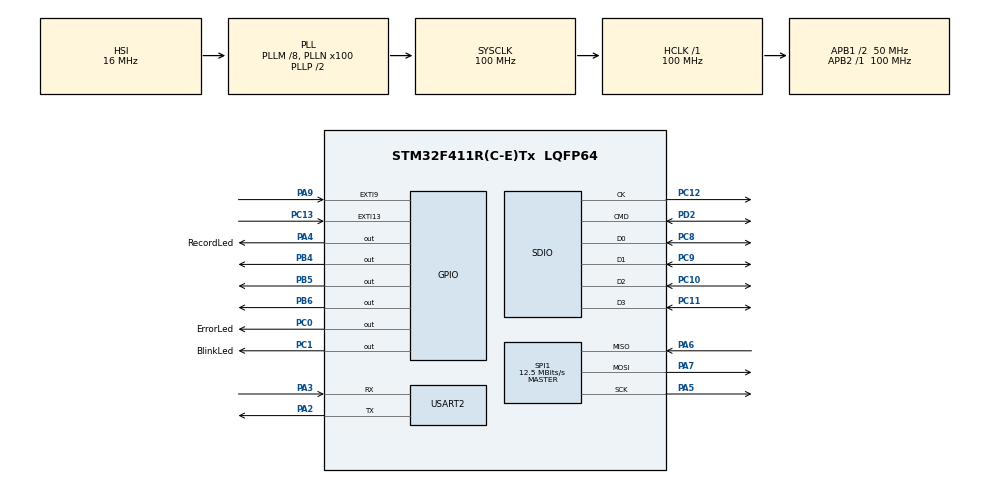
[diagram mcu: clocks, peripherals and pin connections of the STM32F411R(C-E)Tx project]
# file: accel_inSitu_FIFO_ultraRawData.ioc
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Dma.Request0=SDIO_TX
Dma.Request1=SDIO_RX
Dma.Request2=SPI1_RX
Dma.Request3=SPI1_TX
Dma.SDIO_RX.1.Direction=DMA_PERIPH_TO_MEMORY
Dma.SDIO_RX.1.FIFOMode=DMA_FIFOMODE_ENABLE
Dma.SDIO_RX.1.FIFOThreshold=DMA_FIFO_THRESHOLD_FULL
Dma.SDIO_RX.1.Instance=DMA2_Stream6
Dma.SDIO_RX.1.MemBurst=DMA_MBURST_INC4
Dma.SDIO_RX.1.MemDataAlignment=DMA_MDATAALIGN_WORD
Dma.SDIO_RX.1.MemInc=DMA_MINC_ENABLE
Dma.SDIO_RX.1.Mode=DMA_PFCTRL
Dma.SDIO_RX.1.PeriphBurst=DMA_PBURST_INC4
Dma.SDIO_RX.1.PeriphDataAlignment=DMA_PDATAALIGN_WORD
Dma.SDIO_RX.1.PeriphInc=DMA_PINC_DISABLE
Dma.SDIO_RX.1.Priority=DMA_PRIORITY_MEDIUM
Dma.SDIO_TX.0.Direction=DMA_MEMORY_TO_PERIPH
Dma.SDIO_TX.0.FIFOMode=DMA_FIFOMODE_ENABLE
Dma.SDIO_TX.0.FIFOThreshold=DMA_FIFO_THRESHOLD_FULL
Dma.SDIO_TX.0.Instance=DMA2_Stream3
Dma.SDIO_TX.0.MemBurst=DMA_MBURST_INC4
Dma.SDIO_TX.0.MemDataAlignment=DMA_MDATAALIGN_WORD
Dma.SDIO_TX.0.MemInc=DMA_MINC_ENABLE
Dma.SDIO_TX.0.Mode=DMA_PFCTRL
Dma.SDIO_TX.0.PeriphBurst=DMA_PBURST_INC4
Dma.SDIO_TX.0.PeriphDataAlignment=DMA_PDATAALIGN_WORD
Dma.SDIO_TX.0.PeriphInc=DMA_PINC_DISABLE
Dma.SDIO_TX.0.Priority=DMA_PRIORITY_MEDIUM
Dma.SPI1_RX.2.Direction=DMA_PERIPH_TO_MEMORY
Dma.SPI1_RX.2.FIFOMode=DMA_FIFOMODE_ENABLE
Dma.SPI1_RX.2.FIFOThreshold=DMA_FIFO_THRESHOLD_FULL
Dma.SPI1_RX.2.Instance=DMA2_Stream0
Dma.SPI1_RX.2.MemBurst=DMA_MBURST_SINGLE
Dma.SPI1_RX.2.MemDataAlignment=DMA_MDATAALIGN_BYTE
Dma.SPI1_RX.2.MemInc=DMA_MINC_ENABLE
Dma.SPI1_RX.2.Mode=DMA_NORMAL
Dma.SPI1_RX.2.PeriphBurst=DMA_PBURST_SINGLE
Dma.SPI1_RX.2.PeriphDataAlignment=DMA_PDATAALIGN_BYTE
Dma.SPI1_RX.2.PeriphInc=DMA_PINC_DISABLE
Dma.SPI1_RX.2.Priority=DMA_PRIORITY_HIGH
Dma.SPI1_TX.3.Direction=DMA_MEMORY_TO_PERIPH
Dma.SPI1_TX.3.FIFOMode=DMA_FIFOMODE_ENABLE
Dma.SPI1_TX.3.FIFOThreshold=DMA_FIFO_THRESHOLD_FULL
Dma.SPI1_TX.3.Instance=DMA2_Stream2
Dma.SPI1_TX.3.MemBurst=DMA_MBURST_SINGLE
Dma.SPI1_TX.3.MemDataAlignment=DMA_MDATAALIGN_BYTE
Dma.SPI1_TX.3.MemInc=DMA_MINC_ENABLE
Dma.SPI1_TX.3.Mode=DMA_NORMAL
Dma.SPI1_TX.3.PeriphBurst=DMA_PBURST_SINGLE
Dma.SPI1_TX.3.PeriphDataAlignment=DMA_PDATAALIGN_BYTE
Dma.SPI1_TX.3.PeriphInc=DMA_PINC_DISABLE
Dma.SPI1_TX.3.Priority=DMA_PRIORITY_HIGH
FATFS.USE_DMA_CODE_SD=1
FATFS._CODE_PAGE=850
FATFS._MAX_SS=4096
FATFS._USE_LFN=1
Mcu.Family=STM32F4
Mcu.Name=STM32F411R(C-E)Tx
Mcu.Package=LQFP64
NVIC.DMA2_Stream0_IRQn=true\:0\:0\:false\:false\:true\:false\:true\:true
NVIC.DMA2_Stream2_IRQn=true\:0\:0\:false\:false\:true\:false\:true\:true
NVIC.DMA2_Stream3_IRQn=true\:0\:1\:false\:false\:true\:false\:true\:true
NVIC.DMA2_Stream6_IRQn=true\:0\:1\:false\:false\:true\:false\:true\:true
NVIC.EXTI15_10_IRQn=true\:0\:3\:false\:false\:true\:true\:true\:true
NVIC.EXTI9_5_IRQn=true\:0\:2\:false\:false\:true\:true\:true\:true
NVIC.PriorityGroup=NVIC_PRIORITYGROUP_0
NVIC.SDIO_IRQn=true\:0\:0\:false\:false\:true\:true\:true\:true
NVIC.TIM1_TRG_COM_TIM11_IRQn=true\:0\:1\:true\:false\:true\:true\:true\:true
NVIC.TIM5_IRQn=true\:0\:3\:false\:false\:true\:true\:true\:true
PA11.Signal=USART6_TX
PA12.Signal=USART6_RX
PA13.Mode=Serial_Wire
PA13.Signal=SYS_JTMS-SWDIO
PA14.Mode=Serial_Wire
PA14.Signal=SYS_JTCK-SWCLK
PA2.Mode=Asynchronous
PA2.Signal=USART2_TX
PA3.Mode=Asynchronous
PA3.Signal=USART2_RX
PA4.GPIO_Label=RecordLed
PA4.Signal=GPIO_Output
PA5.Mode=Full_Duplex_Master
PA5.Signal=SPI1_SCK
PA6.Mode=Full_Duplex_Master
PA6.Signal=SPI1_MISO
PA7.Mode=Full_Duplex_Master
PA7.Signal=SPI1_MOSI
PA9.Signal=GPXTI9
PB4.GPIO_ModeDefaultOutputPP=GPIO_MODE_OUTPUT_OD
PB4.GPIO_PuPd=GPIO_NOPULL
PB4.PinState=GPIO_PIN_SET
PB4.Signal=GPIO_Output
PB5.PinState=GPIO_PIN_RESET
PB5.Signal=GPIO_Output
PB6.Signal=GPIO_Output
PC0.GPIO_Label=ErrorLed
PC0.Signal=GPIO_Output
PC1.GPIO_Label=BlinkLed
PC1.Signal=GPIO_Output
PC10.Mode=SD_4_bits_Wide_bus
PC10.Signal=SDIO_D2
PC11.Mode=SD_4_bits_Wide_bus
PC11.Signal=SDIO_D3
PC12.Mode=SD_4_bits_Wide_bus
PC12.Signal=SDIO_CK
PC13-ANTI_TAMP.Signal=GPXTI13
PC8.Mode=SD_4_bits_Wide_bus
PC8.Signal=SDIO_D0
PC9.Mode=SD_4_bits_Wide_bus
PC9.Signal=SDIO_D1
PD2.Mode=SD_4_bits_Wide_bus
PD2.Signal=SDIO_CMD
ProjectManager.HeapSize=0x200
ProjectManager.StackSize=0x400
ProjectManager.TargetToolchain=STM32CubeIDE
RCC.48MHZClocksFreq_Value=40000000
RCC.AHBFreq_Value=100000000
RCC.APB1CLKDivider=RCC_HCLK_DIV2
RCC.APB1Freq_Value=50000000
RCC.APB1TimFreq_Value=100000000
RCC.APB2Freq_Value=100000000
RCC.APB2TimFreq_Value=100000000
RCC.CortexFreq_Value=100000000
RCC.FLatency-AdvancedSettings=FLASH_LATENCY_3
RCC.HCLKFreq_Value=100000000
RCC.HSE_VALUE=8000000
RCC.HSI_VALUE=16000000
RCC.LSE_VALUE=32768
RCC.PLLM=8
RCC.PLLN=100
RCC.PLLQ=5
RCC.SYSCLKFreq_VALUE=100000000
RCC.SYSCLKSource=RCC_SYSCLKSOURCE_PLLCLK
RCC.VCOOutputFreq_Value=200000000
SDIO.ClockBypass=SDIO_CLOCK_BYPASS_DISABLE
SDIO.ClockDiv=0
SDIO.HardwareFlowControl=SDIO_HARDWARE_FLOW_CONTROL_DISABLE
SPI1.BaudRatePrescaler=SPI_BAUDRATEPRESCALER_8
SPI1.CLKPhase=SPI_PHASE_1EDGE
SPI1.CLKPolarity=SPI_POLARITY_LOW
SPI1.CalculateBaudRate=12.5 MBits/s
SPI1.Direction=SPI_DIRECTION_2LINES
SPI1.Mode=SPI_MODE_MASTER
SPI1.VirtualType=VM_MASTER
TIM11.Period=2*100
TIM11.Prescaler=50000-1
TIM5.Period=2*1000*60*30
TIM5.Prescaler=50000-1
USART2.VirtualMode=VM_ASYNC
VP_FATFS_VS_SDIO.Mode=SDIO
VP_TIM11_VS_ClockSourceINT.Mode=Enable_Timer
VP_TIM5_VS_ClockSourceINT.Mode=Internal
board=NUCLEO-F411RE

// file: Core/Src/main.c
/* USER CODE BEGIN Header */
/**
 * @file           : main.c
 * @brief          : Modulo de medicion de vibraciones en ejes de tren
 * @authors        : Alejandro Narvaez, Mateo Robayo, Geronimo Nuñez
 * @project        : Accel Metro-UN
 *
 * @hardware       : STM32F411RE + IIS3DWB (SPI) + SD Card (SDIO/FatFS)
 * @sensor_odr     : 26,667 Hz (acelerometro 3 ejes, +-4g)
 * @storage_format : Binario, 10 bytes/muestra (uint32 ts + int16 x,y,z)
 * @file_rotation  : Automatica cada 20 minutos (A0, A1, A2, ...)
 *
 * @description    : El sistema lee el FIFO del IIS3DWB por polling con
 *                   WTM=20, empaqueta las muestras en formato binario en
 *                   un buffer de 50KB, y escribe a la SD en bloques
 *                   alineados a 512 bytes (sector). Los archivos rotan
 *                   automaticamente cada 20 minutos. Un preview UART
 *                   opcional (~10 Hz) permite monitorear en CoolTerm.
 *
 * Copyright (c) 2022 STMicroelectronics. All rights reserved.
 ******************************************************************************
 */
/* USER CODE END Header */
#include "main.h"
#include "dma.h"
#include "fatfs.h"
#include "sdio.h"
#include "spi.h"
#include "tim.h"
#include "usart.h"
#include "gpio.h"

/* USER CODE BEGIN Includes */
#include <string.h>
#include <stdio.h>
#include <stdbool.h>
/* USER CODE END Includes */

/* USER CODE BEGIN PD */

/* ---------- Sensor FIFO ---------- */
#define DATA_BUFFERSIZE    (20 * 7)   /* 7 bytes/word x 20 words = 140 bytes   */
#define TAG_SENSOR_ACCEL   0x02
#define TAG_SENSOR_TIMESTAMP 0x04
#define WTM_THRESHOLD      20         /* 10 pares accel+timestamp por lectura   */

/* ---------- SD write ---------- */
#define BIG_BUF_SIZE       50000      /* Buffer de acumulacion (~187 ms @ 26667 Hz) */
#define WRITE_THRESHOLD    512        /* Escribir alineado a sector SD            */
#define SYNC_EVERY_N       5000       /* f_sync cada ~5000 escrituras             */

/* ---------- Rotacion de archivos ---------- */
#define FILE_ROTATE_MS     1200000UL  /* 20 minutos en milisegundos              */

/* ---------- UART preview ---------- */
#define PREVIEW_EVERY_N    130        /* ~130 lotes x 0.75ms = ~100ms            */

/* ---------- LEDs ---------- */
#define RECORD_LED_PIN     GPIO_PIN_4
#define RECORD_LED_PORT    GPIOA
#define ERROR_LED_PIN      GPIO_PIN_0
#define ERROR_LED_PORT     GPIOC
#define BLINK_LED_PIN      GPIO_PIN_1
#define BLINK_LED_PORT     GPIOC

/* ---------- Misc ---------- */
#define BUFFER_SIZE        72         /* Buffer auxiliar para sprintf             */

/* USER CODE END PD */

/* USER CODE BEGIN PV */

/*
 * devMode: controla la salida UART para monitoreo en CoolTerm.
 *   1 = envia preview de datos (~10 Hz) + mensajes de estado
 *   0 = sin salida UART (modo produccion en el tren)
 * Para cambiar: modificar esta linea y recompilar.
 */
uint8_t devMode = 0;

/* ---------- SPI data buffers ---------- */
uint8_t data_rec[8] = { 0 };
uint8_t data_rec2[6] = { 0 };
uint8_t dataFIFO[DATA_BUFFERSIZE] = { 0 };

/* ---------- Parsed FIFO output ---------- */
int16_t datax[WTM_THRESHOLD / 2] = { 0 };
int16_t datay[WTM_THRESHOLD / 2] = { 0 };
int16_t dataz[WTM_THRESHOLD / 2] = { 0 };
uint32_t time[WTM_THRESHOLD / 2] = { 0 };

/* ---------- SD write buffer ---------- */
uint8_t bigbuf[BIG_BUF_SIZE];
uint32_t bigbuf_len = 0;

/* ---------- SD / FatFS ---------- */
FATFS myFatFS;
FIL myFile;
FATFS *pfs;
DWORD fre_clust;
uint32_t total, free_space;

/* ---------- File rotation ---------- */
char myFileName[20];
uint8_t file_index = 0;
uint32_t file_start_tick = 0;

/* ---------- Flags (volatile: modificadas por ISR) ---------- */
volatile uint8_t flag_recordData = 0;
volatile uint8_t flag_toggleRecord = 0;
volatile uint8_t flag_openFile = 0;
volatile uint8_t flag_closeFile = 0;
volatile uint8_t flag_FIFO_dataAvailable = 0;
volatile uint16_t time_counter_done = 0;

/* ---------- Counters ---------- */
uint32_t write_count = 0;
uint32_t preview_counter = 0;

/* ---------- Sensor config ---------- */
int8_t freq_fine = 0;
float ODR = 0;
int16_t x2;

/* ---------- Aux ---------- */
char buffer[BUFFER_SIZE];
uint32_t millis = 0;

int bufsize(char *buf);
/* USER CODE END PV */

void SystemClock_Config(void);

/* USER CODE BEGIN 0 */

void clear_buffer(void);
void iis_write(uint8_t address, uint8_t value);
void iis_read(uint8_t address, uint16_t dataSize, uint8_t *ptrDataArray);
void iis_init(void);
void iis_FIFO_read(int16_t *ptrDataX, int16_t *ptrDataY, int16_t *ptrDataZ,
        uint32_t *ptrTimestamp);
void send_uart2(char *string);
FRESULT open_new_file(void);
void close_current_file(void);

/* USER CODE END 0 */

int main(void)
{

  HAL_Init();

  SystemClock_Config();

  MX_GPIO_Init();
  MX_DMA_Init();
  MX_SDIO_SD_Init();
  MX_FATFS_Init();
  MX_USART2_UART_Init();
  MX_TIM11_Init();
  MX_SPI1_Init();
  MX_TIM5_Init();

  /* USER CODE BEGIN 2 */
    send_uart2("Starting Accel Metro-UN\n");
    HAL_Delay(100);
    iis_init();
    HAL_Delay(15);

    HAL_TIM_Base_Start_IT(&htim5);
    HAL_TIM_Base_Start_IT(&htim11);
    send_uart2("Ready to roll!!!\n");
  /* USER CODE END 2 */

  /* Infinite loop */
    while (1) {

    /* USER CODE BEGIN 3 */

        /* ============================================================
         * INICIAR GRABACION
         * ============================================================ */
        if (flag_toggleRecord && flag_openFile) {
            flag_openFile = 0;

            FRESULT error = f_mount(&myFatFS, "/", 1);
            if (error == FR_OK) {
                HAL_GPIO_WritePin(ERROR_LED_PORT, ERROR_LED_PIN, 0);
                HAL_Delay(100);
                send_uart2("SD CARD montada OK\n");

                f_getfree("", &fre_clust, &pfs);
                clear_buffer();
                total = (uint32_t)((pfs->n_fatent - 2) * pfs->csize * 0.5);
                sprintf(buffer, "SD Total: %lu KB\n", total);
                send_uart2(buffer);
                clear_buffer();
                free_space = (uint32_t)(fre_clust * pfs->csize * 0.5);
                sprintf(buffer, "SD Libre: %lu KB\n\n", free_space);
                send_uart2(buffer);
                clear_buffer();

                file_index = 0;
                error = open_new_file();

                if (error == FR_OK) {
                    HAL_GPIO_WritePin(RECORD_LED_PORT, RECORD_LED_PIN, 1);
                    HAL_GPIO_WritePin(ERROR_LED_PORT, ERROR_LED_PIN, 0);

                    iis_write(0x10, 0b10101000); /* Accel ON, +-4g */
                    HAL_Delay(10);

                    flag_recordData = 1;
                    flag_closeFile = 1;

                    iis_write(0x42, 0xAA);       /* Reset timestamp */
                    iis_write(0x0A, 0b01000000); /* Clear FIFO */
                    iis_write(0x0A, 0b01000110); /* FIFO continuous mode */

                    write_count = 0;
                    preview_counter = 0;
                    bigbuf_len = 0;
                    file_start_tick = HAL_GetTick();

                    iis_read(0x63, 1, (uint8_t*)&freq_fine);
                    ODR = 26667 * (1 + (0.0015 * freq_fine));

                    millis = HAL_GetTick();
                    clear_buffer();
                    sprintf(buffer, "Grabando desde t=%lu ms\n", millis);
                    send_uart2(buffer);
                    clear_buffer();

                } else {
                    HAL_GPIO_WritePin(ERROR_LED_PORT, ERROR_LED_PIN, 1);
                    send_uart2("ERROR: no se pudo abrir archivo\n");
                }

                HAL_TIM_Base_Stop(&htim11);
                HAL_GPIO_WritePin(BLINK_LED_PORT, BLINK_LED_PIN, 0);
                HAL_TIM_Base_Start(&htim5);
                HAL_Delay(100);

            } else {
                HAL_GPIO_WritePin(ERROR_LED_PORT, ERROR_LED_PIN, 1);
                clear_buffer();
                sprintf(buffer, "ERROR SD mount: %i\n", error);
                send_uart2(buffer);
            }

        /* ============================================================
         * DETENER GRABACION
         * ============================================================ */
        } else if (!flag_toggleRecord && flag_closeFile) {
            flag_closeFile = 0;
            flag_recordData = 0;
            HAL_GPIO_WritePin(RECORD_LED_PORT, RECORD_LED_PIN, 0);
            HAL_TIM_Base_Stop(&htim5);
            HAL_TIM_Base_Start(&htim11);

            if (bigbuf_len > 0) {
                uint32_t aux = 0;
                f_write(&myFile, bigbuf, bigbuf_len, (UINT*)&aux);
                bigbuf_len = 0;
            }

            close_current_file();

            millis = HAL_GetTick();
            clear_buffer();
            sprintf(buffer, "Cerrado t=%lu ms\n", millis);
            send_uart2(buffer);
            clear_buffer();
        }

        /* ============================================================
         * LOOP DE GRABACION
         * ============================================================ */
        if (flag_recordData) {

            /* --- PASO 1: Leer FIFO --- */
            iis_FIFO_read(datax, datay, dataz, time);

            /* --- PASO 2: Empaquetar binario en bigbuf --- */
            for (uint16_t i = 0; i < WTM_THRESHOLD / 2; i++) {
                if (time[i] == 0) continue;
                if (bigbuf_len + 10 <= BIG_BUF_SIZE) {
                    bigbuf[bigbuf_len++] = (uint8_t)(time[i]);
                    bigbuf[bigbuf_len++] = (uint8_t)(time[i] >> 8);
                    bigbuf[bigbuf_len++] = (uint8_t)(time[i] >> 16);
                    bigbuf[bigbuf_len++] = (uint8_t)(time[i] >> 24);
                    bigbuf[bigbuf_len++] = (uint8_t)(datax[i]);
                    bigbuf[bigbuf_len++] = (uint8_t)(datax[i] >> 8);
                    bigbuf[bigbuf_len++] = (uint8_t)(datay[i]);
                    bigbuf[bigbuf_len++] = (uint8_t)(datay[i] >> 8);
                    bigbuf[bigbuf_len++] = (uint8_t)(dataz[i]);
                    bigbuf[bigbuf_len++] = (uint8_t)(dataz[i] >> 8);
                }
            }

            /* --- PASO 3: Preview UART para CoolTerm --- */
            preview_counter++;
            if (devMode && preview_counter >= PREVIEW_EVERY_N) {
                preview_counter = 0;
                for (uint16_t i = 0; i < WTM_THRESHOLD / 2; i++) {
                    if (time[i] != 0) {
                        float ts_ms = (float)time[i] * 12.5f / 1000.0f;
                        float ax = (float)datax[i] * 0.122f;
                        float ay = (float)datay[i] * 0.122f;
                        float az = (float)dataz[i] * 0.122f;
                        sprintf(buffer, "%.2f,%.2f,%.2f,%.2f\n", ts_ms, ax, ay, az);
                        HAL_UART_Transmit(&huart2, (uint8_t*)buffer, strlen(buffer), 10);
                        clear_buffer();
                        break;
                    }
                }
            }

            /* --- PASO 4: Escribir a SD alineado a 512 bytes --- */
            if (bigbuf_len >= WRITE_THRESHOLD) {
                uint32_t aux = 0;
                uint32_t to_write = (bigbuf_len / 512) * 512;
                FRESULT wr_err = f_write(&myFile, bigbuf, to_write, (UINT*)&aux);

                if (wr_err != FR_OK || aux != to_write) {
                    HAL_GPIO_WritePin(ERROR_LED_PORT, ERROR_LED_PIN, 1);
                    send_uart2("ERR:SD_WR\n");
                }

                uint32_t remainder = bigbuf_len - to_write;
                if (remainder > 0) {
                    memmove(bigbuf, bigbuf + to_write, remainder);
                }
                bigbuf_len = remainder;
                write_count++;
            }

            /* --- PASO 5: f_sync periodico --- */
            if (write_count >= SYNC_EVERY_N) {
                write_count = 0;
                f_sync(&myFile);
            }

            /* --- PASO 6: f_sync por timer de 30 min --- */
            if (time_counter_done) {
                time_counter_done = 0;
                f_sync(&myFile);
            }

            /* --- PASO 7: Rotacion de archivo cada 20 min --- */
            if ((HAL_GetTick() - file_start_tick) >= FILE_ROTATE_MS) {
                if (bigbuf_len > 0) {
                    uint32_t aux = 0;
                    f_write(&myFile, bigbuf, bigbuf_len, (UINT*)&aux);
                    bigbuf_len = 0;
                }
                f_sync(&myFile);
                f_close(&myFile);

                file_index++;
                FRESULT err = open_new_file();
                if (err != FR_OK) {
                    HAL_GPIO_WritePin(ERROR_LED_PORT, ERROR_LED_PIN, 1);
                    send_uart2("ERR: rotacion fallida\n");
                    flag_recordData = 0;
                } else {
                    file_start_tick = HAL_GetTick();
                    write_count = 0;
                    clear_buffer();
                    sprintf(buffer, "Rotado: %s\n", myFileName);
                    send_uart2(buffer);
                    clear_buffer();
                }
            }
        }
    }
  /* USER CODE END 3 */
}

void SystemClock_Config(void)
{
  RCC_OscInitTypeDef RCC_OscInitStruct = {0};
  RCC_ClkInitTypeDef RCC_ClkInitStruct = {0};

  __HAL_RCC_PWR_CLK_ENABLE();
  __HAL_PWR_VOLTAGESCALING_CONFIG(PWR_REGULATOR_VOLTAGE_SCALE1);

  RCC_OscInitStruct.OscillatorType = RCC_OSCILLATORTYPE_HSI;
  RCC_OscInitStruct.HSIState = RCC_HSI_ON;
  RCC_OscInitStruct.HSICalibrationValue = RCC_HSICALIBRATION_DEFAULT;
  RCC_OscInitStruct.PLL.PLLState = RCC_PLL_ON;
  RCC_OscInitStruct.PLL.PLLSource = RCC_PLLSOURCE_HSI;
  RCC_OscInitStruct.PLL.PLLM = 8;
  RCC_OscInitStruct.PLL.PLLN = 100;
  RCC_OscInitStruct.PLL.PLLP = RCC_PLLP_DIV2;
  RCC_OscInitStruct.PLL.PLLQ = 5;
  if (HAL_RCC_OscConfig(&RCC_OscInitStruct) != HAL_OK) {
    Error_Handler();
  }

  RCC_ClkInitStruct.ClockType = RCC_CLOCKTYPE_HCLK|RCC_CLOCKTYPE_SYSCLK
                              |RCC_CLOCKTYPE_PCLK1|RCC_CLOCKTYPE_PCLK2;
  RCC_ClkInitStruct.SYSCLKSource = RCC_SYSCLKSOURCE_PLLCLK;
  RCC_ClkInitStruct.AHBCLKDivider = RCC_SYSCLK_DIV1;
  RCC_ClkInitStruct.APB1CLKDivider = RCC_HCLK_DIV2;
  RCC_ClkInitStruct.APB2CLKDivider = RCC_HCLK_DIV1;
  if (HAL_RCC_ClockConfig(&RCC_ClkInitStruct, FLASH_LATENCY_3) != HAL_OK) {
    Error_Handler();
  }
}

/* USER CODE BEGIN 4 */

/* ================================================================
 * open_new_file() - Abre rec_A{N}.bin con header binario
 * ================================================================ */
FRESULT open_new_file(void) {
    sprintf(myFileName, "rec_A%u.bin", file_index);
    FRESULT err = f_open(&myFile, myFileName, FA_WRITE | FA_CREATE_ALWAYS);
    if (err != FR_OK) return err;

    f_puts("BINARY FORMAT: 10 bytes per sample\n", &myFile);
    f_puts("Each sample: uint32_t timestamp(LSB), int16_t X, int16_t Y, int16_t Z\n", &myFile);
    f_puts("Timestamp: 1 LSB = 12.5us, Accel: 1 LSB = 0.122mg, +-4g\n", &myFile);
    clear_buffer();
    sprintf(buffer, "WTM=%d ODR~26667Hz file_index=%u\n", (uint16_t)WTM_THRESHOLD, file_index);
    f_puts(buffer, &myFile);
    clear_buffer();
    f_puts("DATA_START\n", &myFile);

    return FR_OK;
}

/* ================================================================
 * close_current_file() - Cierra archivo, apaga accel, desmonta SD
 * ================================================================ */
void close_current_file(void) {
    f_close(&myFile);
    iis_write(0x10, 0b00001000);
    iis_write(0x0A, 0b01000000);

    FRESULT error = f_mount(NULL, "/", 1);
    HAL_Delay(100);
    if (error == FR_OK) send_uart2("SD desmontada OK\n");
    HAL_Delay(10);
    HAL_TIM_Base_Start(&htim5);
}

/* ================================================================
 * Interrupciones
 * ================================================================ */
void HAL_GPIO_EXTI_Callback(uint16_t GPIO_Pin) {
    if (GPIO_Pin == GPIO_PIN_13) {
        if (flag_toggleRecord == 0) {
            flag_toggleRecord = 1;
            flag_openFile = 1;
        } else {
            flag_toggleRecord = 0;
        }
    }
    if (GPIO_Pin == GPIO_PIN_9) {
        // TODO: Si se desea usar interrupciones solo de debe usar una bandera aquí
        // para habilitar la lectura en el main loop.
    }
}

void HAL_TIM_PeriodElapsedCallback(TIM_HandleTypeDef *htim) {
    if (htim->Instance == TIM5) {
        if (flag_recordData) time_counter_done = 1;
    }
    if (htim->Instance == TIM11) {
        HAL_GPIO_TogglePin(BLINK_LED_PORT, BLINK_LED_PIN);
    }
}

/* ================================================================
 * Funciones auxiliares
 * ================================================================ */
int bufsize(char *buf) {
    int i = 0;
    while (*buf++ != '\0') i++;
    return i;
}

void clear_buffer(void) {
    memset(buffer, 0, BUFFER_SIZE);
}

/* ================================================================
 * IIS3DWB - SPI
 * ================================================================ */
void iis_write(uint8_t address, uint8_t value) {
    uint8_t data[2];
    data[0] = address & 0x7F;
    data[1] = value;
    HAL_GPIO_WritePin(GPIOB, GPIO_PIN_6, GPIO_PIN_RESET);
    HAL_SPI_Transmit(&hspi1, data, 2, 100);
    HAL_GPIO_WritePin(GPIOB, GPIO_PIN_6, GPIO_PIN_SET);
}

void iis_read(uint8_t address, uint16_t dataSize, uint8_t *ptrDataArray) {
    address = (address & 0x7F) | 0x80;
    HAL_GPIO_WritePin(GPIOB, GPIO_PIN_6, GPIO_PIN_RESET);
    HAL_SPI_Transmit(&hspi1, &address, 1, 10);
    HAL_SPI_Receive(&hspi1, ptrDataArray, dataSize, 10);
    HAL_GPIO_WritePin(GPIOB, GPIO_PIN_6, GPIO_PIN_SET);
}

/**
 * @brief  Inicializa el IIS3DWB: reset, timestamp, FIFO continuo con WTM.
 */
void iis_init(void) {
    uint16_t auxVal = WTM_THRESHOLD & 0xFF;
    uint16_t auxMask = WTM_THRESHOLD >> 8;

    iis_write(0x12, 0b00000011); /* Software reset */
    HAL_Delay(10);

    iis_read(0x0F, 1, data_rec);
    x2 = data_rec[0];
    clear_buffer();
    sprintf(buffer, "IIS3DWB ID: %i\n", x2);
    send_uart2(buffer);
    clear_buffer();
    send_uart2("Configurando acelerometro...\n");
    iis_read(0x10, 1, data_rec);

    iis_write(0x10, 0b00000000); /* CTRL1_XL: accel OFF          */
    iis_write(0x15, 0b00000000); /* CTRL6: 3 ejes default        */
    iis_write(0x17, 0b00000000); /* CTRL8: BW 6.3 kHz            */
    iis_write(0x19, 0b00100000); /* CTRL10: timestamp ON          */
    iis_write(0x0A, 0b00000000); /* FIFO_CTRL4: reset FIFO        */
    iis_write(0x07, (uint8_t)auxVal);
    iis_write(0x08, (uint8_t)auxMask); /* WTM threshold           */
    iis_write(0x09, 0b00001010); /* FIFO_CTRL3: BDR 26667 Hz      */
    iis_write(0x0A, 0b01000110); /* FIFO_CTRL4: continuous mode   */
}

/**
 * @brief  Lee FIFO del IIS3DWB y extrae pares accel+timestamp.
 *
 * Polling del registro 0x3B esperando WTM_IA (bit 7).
 * Lee WTM_THRESHOLD * 7 bytes y parsea tags 0x02 (accel) y 0x04 (timestamp).
 * Timeout de 1000 intentos para evitar bloqueo infinito.
 */
void iis_FIFO_read(int16_t *ptrDataX, int16_t *ptrDataY, int16_t *ptrDataZ,
        uint32_t *ptrTimestamp) {

    uint32_t retries = 0;
    while (!(flag_FIFO_dataAvailable >> 7)) {
        iis_read(0x3B, 1, &flag_FIFO_dataAvailable);
        if (++retries > 1000) return;
    }
    flag_FIFO_dataAvailable = 0;

    iis_read(0x78, WTM_THRESHOLD * 7, dataFIFO);

    int16_t  temp_x = 0, temp_y = 0, temp_z = 0;
    uint32_t temp_ts = 0;
    uint8_t  has_accel = 0, has_ts = 0;
    uint16_t out_idx = 0;

    for (uint16_t j = 0; j < (uint16_t)(WTM_THRESHOLD / 2); j++) {
        ptrDataX[j] = 0;
        ptrDataY[j] = 0;
        ptrDataZ[j] = 0;
        ptrTimestamp[j] = 0;
    }

    for (uint16_t i = 0; i < WTM_THRESHOLD; i++) {
        uint8_t tag = dataFIFO[i * 7] >> 3;

        if (tag == TAG_SENSOR_ACCEL) {
            temp_x = (int16_t)((dataFIFO[i*7+2] << 8) | dataFIFO[i*7+1]);
            temp_y = (int16_t)((dataFIFO[i*7+4] << 8) | dataFIFO[i*7+3]);
            temp_z = (int16_t)((dataFIFO[i*7+6] << 8) | dataFIFO[i*7+5]);
            has_accel = 1;
        }
        else if (tag == TAG_SENSOR_TIMESTAMP) {
            temp_ts = ((uint32_t)dataFIFO[i*7+4] << 24)
                    | ((uint32_t)dataFIFO[i*7+3] << 16)
                    | ((uint32_t)dataFIFO[i*7+2] << 8)
                    |  (uint32_t)dataFIFO[i*7+1];
            has_ts = 1;
        }

        if (has_accel && has_ts && out_idx < (uint16_t)(WTM_THRESHOLD / 2)) {
            ptrDataX[out_idx] = temp_x;
            ptrDataY[out_idx] = temp_y;
            ptrDataZ[out_idx] = temp_z;
            ptrTimestamp[out_idx] = temp_ts;
            out_idx++;
            has_accel = 0;
            has_ts = 0;
        }
    }
}

/**
 * @brief  Transmite string por UART2 si devMode activo.
 */
void send_uart2(char *string) {
    if (!devMode) return;
    uint16_t len = strlen(string);
    HAL_UART_Transmit(&huart2, (uint8_t*)string, len, HAL_MAX_DELAY);
}

/* USER CODE END 4 */

void Error_Handler(void)
{
    __disable_irq();
    while (1) {
    }
}
